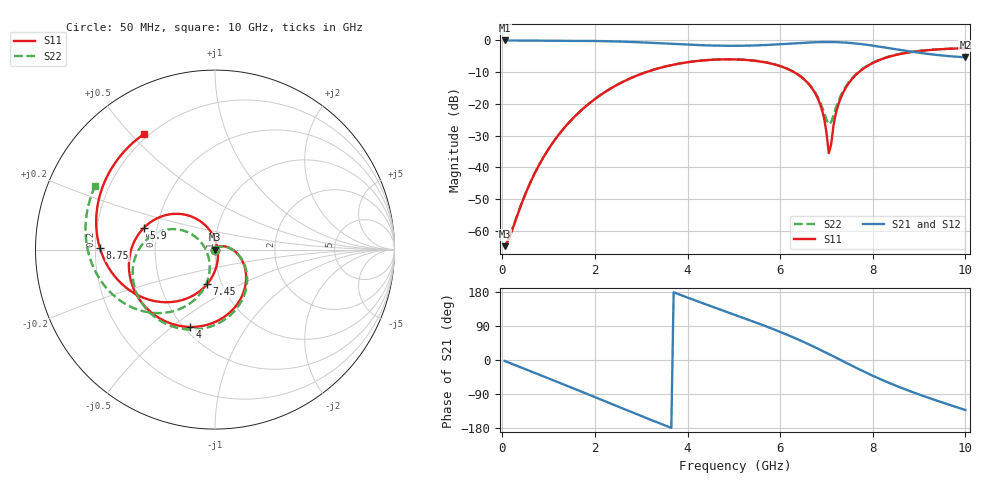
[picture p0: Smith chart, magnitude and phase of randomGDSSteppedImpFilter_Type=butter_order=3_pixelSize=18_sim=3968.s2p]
! freq	dB(S11)	phase(S11)	dB(S12)	phase(S12)
!  dB(S21)	phase(S21)	dB(S22)	phase(S22)
!S-par simulation data
#  GHz  S  DB  R 50
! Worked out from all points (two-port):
!   200 points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, 50 MHz to 10 GHz, reference 50 ohm
!   highest |S21| = 0.00 dB at 50 MHz (marker M1); lowest = -5.3 dB at 10 GHz (marker M2)
!   |S21| within 3 dB of the highest: start of sweep to 8.595 GHz
!   lowest |S11| = -64.8 dB at 50 MHz (marker M3), VSWR 1.00, Z = 50.1 + j0.0174 ohm
!   |S11| at or under -10 dB: start of sweep to 3.102 GHz; 6.301 GHz to 7.699 GHz (1.398 GHz wide, 20 % of centre)
!   |S22| runs from -64.7 to -2.4 dB; largest |S21 - S12| = 0
!   S11 on the Smith chart (normalised r, x): 50 MHz: 1.00, +0.00; 4 GHz: 0.53, -0.58; 5.9 GHz: 0.42, +0.12; 7.45 GHz: 0.85, -0.34; 8.75 GHz: 0.22, +0.01; 10 GHz: 0.18, +0.54
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0.05  -64.82 17.7  -0.00 -2.5  -0.00 -2.5  -64.71 18.4
0.85  -37.75 52.1  -0.05 -41.3  -0.05 -41.3  -37.76 47.0
1.25  -29.10 31.4  -0.08 -60.9  -0.08 -60.9  -29.11 28.4
1.75  -21.42 5.3  -0.13 -85.5  -0.13 -85.5  -21.41 4.3
2.45  -14.23 -31.1  -0.31 -120.4  -0.31 -120.4  -14.22 -29.8
2.95  -10.81 -56.8  -0.57 -145.3  -0.57 -145.3  -10.80 -54.0
3.4  -8.66 -79.3  -0.87 -167.2  -0.87 -167.2  -8.65 -75.3
4  -6.87 -108.2  -1.31 164.7  -1.31 164.7  -6.85 -102.3
5.05  -5.98 -156.3  -1.68 118.0  -1.68 118.0  -5.96 -146.4
5.9  -7.64 163.1  -1.28 79.1  -1.28 79.1  -7.60 178.2
6.35  -10.43 138.5  -0.88 56.2  -0.88 56.2  -10.36 159.0
6.7  -15.33 116.2  -0.60 36.7  -0.60 36.7  -15.12 147.2
6.9  -21.72 98.7  -0.51 24.9  -0.51 24.9  -20.74 151.3
7  -28.99 78.6  -0.49 18.8  -0.49 18.8  -25.01 172.2
7.05  -35.52 35.3  -0.49 15.8  -0.49 15.8  -26.42 -164.6
7.25  -20.46 -85.3  -0.55 3.4  -0.55 3.4  -19.37 -105.9
7.45  -14.14 -102.7  -0.71 -8.9  -0.71 -8.9  -13.78 -104.8
7.9  -7.91 -133.2  -1.43 -35.9  -1.43 -35.9  -7.77 -123.5
8.35  -5.14 -159.7  -2.43 -60.3  -2.43 -60.3  -5.05 -144.5
8.75  -3.85 179.1  -3.35 -79.7  -3.35 -79.7  -3.78 -161.7
9.35  -2.88 150.5  -4.51 -105.9  -4.51 -105.9  -2.83 175.0
10  -2.43 121.6  -5.31 -132.0  -5.31 -132.0  -2.42 151.8
